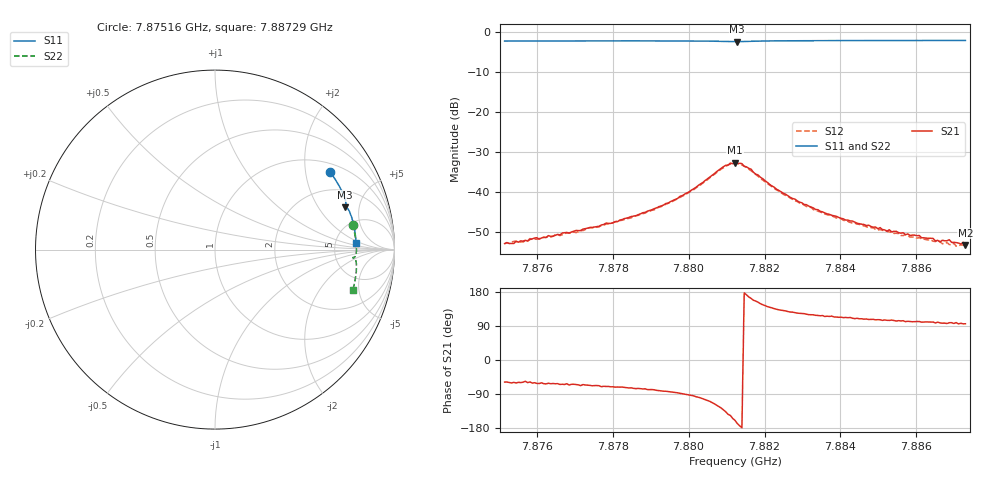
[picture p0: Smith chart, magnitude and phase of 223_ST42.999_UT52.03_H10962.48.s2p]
#  HZ  S  DB  R  50.00
! Rohde & Schwarz Vector Network Analyzer
! Rohde-Schwarz,ZNB20-2Port,1311601062101988,3.16
! Created: UTC 1/12/2023, 6:46:00 PM
! freq[Hz]  db:S11  ang:S11  db:S21  ang:S21  db:S12  ang:S12  db:S22  ang:S22
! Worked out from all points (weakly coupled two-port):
!   201 points, 7.87516 GHz to 7.88729 GHz, reference 50 ohm
!   highest |S21| = -32.60 dB at 7.88122 GHz (marker M1); lowest = -53.2 dB at 7.88729 GHz (marker M2)
!   lowest |S11| = -2.4 dB at 7.88128 GHz (marker M3), VSWR 7.33, Z = 159 + j178 ohm
!   |S11| at or under -10 dB: nowhere
!   |S22| runs from -2.3 to -1.9 dB; largest |S21 - S12| = 0.002
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7.875157e9  -2.23 34.1  -52.79 -58.2  -52.85 -60.6  -2.16 10.3
7.876067e9  -2.21 31.6  -51.69 -62.1  -51.55 -65.1  -2.14 8.2
7.87722e9  -2.20 28.5  -49.17 -65.0  -49.54 -69.2  -2.11 5.4
7.878129e9  -2.18 26.0  -47.32 -71.3  -47.16 -74.4  -2.08 3.4
7.879221e9  -2.18 22.9  -43.56 -80.8  -43.70 -83.8  -2.07 0.8
7.879888e9  -2.19 21.0  -40.50 -89.8  -40.74 -93.3  -2.08 -1.0
7.880919e9  -2.33 18.2  -33.58 -131.6  -33.84 -135.1  -2.21 -3.4
7.881223e9  -2.38 18.1  -32.60 -159.2  -32.79 -163.4  -2.27 -3.4
7.881283e9  -2.38 18.1  -32.77 -167.6  -32.80 -169.5  -2.28 -3.3
7.881647e9  -2.29 17.8  -34.23 162.6  -34.63 158.8  -2.18 -3.4
7.882496e9  -2.16 15.4  -40.23 130.2  -40.51 126.4  -2.05 -5.4
7.883285e9  -2.13 13.2  -43.89 119.3  -44.31 116.3  -2.00 -7.3
7.884134e9  -2.11 10.9  -46.92 112.3  -47.10 109.1  -1.97 -9.2
7.885226e9  -2.10 8.0  -49.68 104.8  -49.72 101.9  -1.96 -11.7
7.885287e9  -2.09 7.8  -49.35 104.5  -49.89 102.5  -1.95 -11.8
7.886439e9  -2.08 4.8  -51.52 100.1  -52.20 97.5  -1.94 -14.4
7.886621e9  -2.08 4.3  -52.39 97.8  -52.35 96.1  -1.94 -14.7
7.886864e9  -2.08 3.7  -51.83 98.4  -53.03 94.3  -1.95 -15.3
7.886924e9  -2.08 3.5  -52.48 98.4  -53.09 94.9  -1.94 -15.3
7.887167e9  -2.08 2.9  -52.91 96.9  -53.14 91.9  -1.94 -15.9
7.887227e9  -2.08 2.7  -52.46 95.4  -53.12 92.7  -1.94 -16.0
7.887288e9  -2.08 2.6  -53.15 95.6  -53.42 93.4  -1.94 -16.1
